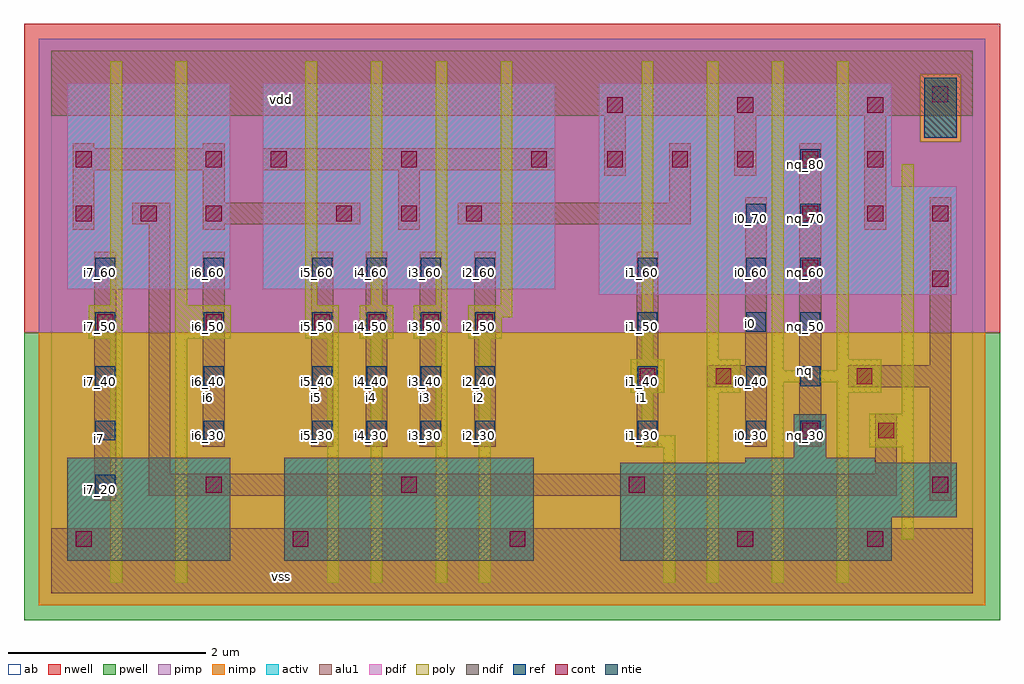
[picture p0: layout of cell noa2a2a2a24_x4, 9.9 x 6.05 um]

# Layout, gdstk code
import gdstk
lib = gdstk.Library(unit=1e-6, precision=2.5e-09)
def R(c, l, rs):  # rectangles x0, y0, x1, y1
    for r in rs: c.add(gdstk.rectangle(r[:2], r[2:], *l))
def A(c, l, x, y, w, h, nx, ny, dx, dy):  # array of equal rectangles
    R(c, l, [(x+i*dx, y+j*dy, x+i*dx+w, y+j*dy+h) for i in range(nx) for j in range(ny)])
ndif = (3, 0)
pdif = (4, 0)
ntie = (5, 0)
ref = (24, 0)
cont = (25, 0)
pwell = (41, 0)
nwell = (42, 0)
activ = (43, 0)
pimp = (44, 0)
nimp = (45, 0)
poly = (46, 0)
alu1 = (49, 0)
ab = (63, 0)

noa2a2a2a24_x4 = lib.new_cell('noa2a2a2a24_x4')
R(noa2a2a2a24_x4, ndif, [(0.165,0.33,1.815,1.375), (2.365,0.33,4.895,1.375), (5.775,0.33,8.525,0.77), (5.775,0.77,9.185,1.32), (7.04,1.32,8.36,1.375), (7.535,1.375,7.865,1.815)])
R(noa2a2a2a24_x4, pdif, [(5.555,3.025,9.185,4.125), (0.165,3.08,1.815,5.17), (2.145,3.08,5.115,5.17), (5.555,4.125,8.525,5.17)])
R(noa2a2a2a24_x4, ntie, [(8.855,4.62,9.185,5.225)])
A(noa2a2a2a24_x4, ref, 0.45, 1.55, 0.2, 0.2, 3, 4, 1.1, 0.55)
A(noa2a2a2a24_x4, ref, 3.2, 1.55, 0.2, 0.2, 3, 4, 0.55, 0.55)
A(noa2a2a2a24_x4, ref, 5.95, 1.55, 0.2, 0.2, 1, 4, 0, 0.55)
A(noa2a2a2a24_x4, ref, 7.05, 1.55, 0.2, 0.2, 1, 5, 0, 0.55)
A(noa2a2a2a24_x4, ref, 7.6, 1.55, 0.2, 0.2, 1, 6, 0, 0.55)
R(noa2a2a2a24_x4, ref, [(0.45,1,0.65,1.2)])
A(noa2a2a2a24_x4, cont, 0.25, 0.47, 0.16, 0.16, 3, 1, 2.2, 0)
A(noa2a2a2a24_x4, cont, 0.47, 2.67, 0.16, 0.16, 3, 1, 1.1, 0)
A(noa2a2a2a24_x4, cont, 3.22, 2.67, 0.16, 0.16, 3, 1, 0.55, 0)
A(noa2a2a2a24_x4, cont, 0.25, 3.77, 0.16, 0.16, 3, 1, 0.66, 0)
A(noa2a2a2a24_x4, cont, 2.89, 3.77, 0.16, 0.16, 3, 1, 0.66, 0)
A(noa2a2a2a24_x4, cont, 7.62, 3.77, 0.16, 0.16, 3, 1, 0.66, 0)
A(noa2a2a2a24_x4, cont, 2.23, 4.32, 0.16, 0.16, 3, 1, 1.32, 0)
A(noa2a2a2a24_x4, cont, 5.64, 4.32, 0.16, 0.16, 5, 1, 0.66, 0)
A(noa2a2a2a24_x4, cont, 5.64, 4.87, 0.16, 0.16, 3, 1, 1.32, 0)
R(noa2a2a2a24_x4, cont, [(6.96,0.47,7.12,0.63), (8.28,0.47,8.44,0.63), (1.57,1.02,1.73,1.18), (3.55,1.02,3.71,1.18), (5.86,1.02,6.02,1.18), (8.94,1.02,9.1,1.18), (7.62,1.57,7.78,1.73), (8.39,1.57,8.55,1.73), (5.97,2.12,6.13,2.28), (6.74,2.12,6.9,2.28), (8.17,2.12,8.33,2.28), (8.94,3.11,9.1,3.27), (7.62,3.22,7.78,3.38), (0.25,4.32,0.41,4.48), (1.57,4.32,1.73,4.48), (8.94,4.98,9.1,5.14)])
R(noa2a2a2a24_x4, pwell, [(-0.275,-0.275,9.625,2.64)])
R(noa2a2a2a24_x4, nwell, [(-0.275,2.64,9.625,5.775)])
R(noa2a2a2a24_x4, activ, [(0.165,0.33,1.815,1.375), (2.365,0.33,4.895,1.375), (5.775,0.33,8.525,0.77), (5.775,0.77,9.185,1.32), (7.04,1.32,8.36,1.375), (7.535,1.375,7.865,1.815), (5.555,3.025,9.185,4.125), (0.165,3.08,1.815,5.17), (2.145,3.08,5.115,5.17), (5.555,4.125,8.525,5.17), (8.855,4.62,9.185,5.225)])
R(noa2a2a2a24_x4, pimp, [(-0.125,2.64,9.475,4.58), (-0.125,4.58,8.815,5.265), (9.225,4.58,9.475,5.265), (-0.125,5.265,9.475,5.625)])
R(noa2a2a2a24_x4, nimp, [(-0.125,-0.125,9.475,2.64), (8.815,4.58,9.225,5.265)])
A(noa2a2a2a24_x4, poly, 2.58, 2.58, 0.34, 0.34, 3, 1, 0.55, 0)
A(noa2a2a2a24_x4, poly, 2.58, 2.92, 0.12, 2.475, 4, 1, 0.66, 0)
R(noa2a2a2a24_x4, poly, [(0.6,0.105,0.72,2.58), (1.26,0.105,1.38,2.58), (2.8,0.105,2.92,2.58), (3.24,0.105,3.36,2.58), (3.9,0.105,4.02,2.58), (4.34,0.105,4.46,2.58), (6.21,0.105,6.33,1.48), (6.65,0.105,6.77,2.03), (7.31,0.105,7.43,2.14), (7.97,0.105,8.09,2.03), (8.63,0.545,8.75,1.48), (5.99,1.48,6.33,1.6), (8.3,1.48,8.75,1.82), (5.99,1.6,6.11,2.03), (8.63,1.82,8.75,4.35), (5.88,2.03,6.22,2.37), (6.65,2.03,6.99,2.37), (7.97,2.03,8.42,2.14), (7.31,2.14,8.42,2.26), (7.31,2.26,7.43,5.395), (7.97,2.26,8.42,2.37), (5.99,2.37,6.11,5.395), (6.65,2.37,6.77,5.395), (7.97,2.37,8.09,5.395), (0.38,2.58,0.72,2.92), (1.26,2.58,1.82,2.92), (4.23,2.58,4.57,2.8), (4.23,2.8,4.68,2.92), (0.6,2.92,0.72,5.395), (1.26,2.92,1.38,5.395)])
A(noa2a2a2a24_x4, alu1, 2.64, 1.485, 0.22, 1.98, 4, 1, 0.55, 0)
R(noa2a2a2a24_x4, alu1, [(0,0,9.35,0.66), (0.44,0.935,0.66,3.465), (8.91,0.935,9.13,2.09), (0.99,0.99,8.58,1.21), (0.99,1.21,1.21,3.74), (8.36,1.21,8.58,1.815), (1.54,1.485,1.76,3.465), (5.94,1.485,6.16,3.465), (7.04,1.485,7.26,2.09), (7.59,1.485,7.81,4.565), (6.655,2.09,7.26,2.31), (8.085,2.09,9.13,2.31), (7.04,2.31,7.26,4.015), (8.91,2.31,9.13,4.015), (0.22,3.685,0.44,4.29), (1.54,3.685,1.76,3.74), (3.52,3.685,3.74,4.29), (8.25,3.685,8.47,4.84), (0.825,3.74,1.21,3.96), (1.54,3.74,3.135,3.96), (4.125,3.74,6.49,3.96), (1.54,3.96,1.76,4.29), (6.27,3.96,6.49,4.565), (5.61,4.235,5.83,4.84), (6.93,4.235,7.15,4.84), (0.22,4.29,1.76,4.51), (2.145,4.29,5.115,4.51), (0.22,4.51,0.44,4.565), (1.54,4.51,1.76,4.565), (0,4.84,9.35,5.5)])
R(noa2a2a2a24_x4, ab, [(0,0,9.35,5.5)])
noa2a2a2a24_x4.add(gdstk.Label('vss', (2.3375,0.165), layer=49, texttype=0))
noa2a2a2a24_x4.add(gdstk.Label('nq', (7.645,2.255), layer=49, texttype=0))
noa2a2a2a24_x4.add(gdstk.Label('i0', (7.095,2.735), layer=49, texttype=0))
noa2a2a2a24_x4.add(gdstk.Label('i1', (5.995,1.98), layer=49, texttype=0))
noa2a2a2a24_x4.add(gdstk.Label('i2', (4.345,1.98), layer=49, texttype=0))
noa2a2a2a24_x4.add(gdstk.Label('i3', (3.795,1.98), layer=49, texttype=0))
noa2a2a2a24_x4.add(gdstk.Label('i4', (3.245,1.98), layer=49, texttype=0))
noa2a2a2a24_x4.add(gdstk.Label('i5', (2.695,1.98), layer=49, texttype=0))
noa2a2a2a24_x4.add(gdstk.Label('i6', (1.595,1.98), layer=49, texttype=0))
noa2a2a2a24_x4.add(gdstk.Label('i7', (0.495,1.5675), layer=49, texttype=0))
noa2a2a2a24_x4.add(gdstk.Label('vdd', (2.3375,5.005), layer=49, texttype=0))
noa2a2a2a24_x4.add(gdstk.Label('i2_60', (4.35,3.25), layer=24, texttype=0))
noa2a2a2a24_x4.add(gdstk.Label('i2_50', (4.35,2.7), layer=24, texttype=0))
noa2a2a2a24_x4.add(gdstk.Label('i2_40', (4.35,2.15), layer=24, texttype=0))
noa2a2a2a24_x4.add(gdstk.Label('i2_30', (4.35,1.6), layer=24, texttype=0))
noa2a2a2a24_x4.add(gdstk.Label('i3_60', (3.8,3.25), layer=24, texttype=0))
noa2a2a2a24_x4.add(gdstk.Label('i3_50', (3.8,2.7), layer=24, texttype=0))
noa2a2a2a24_x4.add(gdstk.Label('i3_40', (3.8,2.15), layer=24, texttype=0))
noa2a2a2a24_x4.add(gdstk.Label('i3_30', (3.8,1.6), layer=24, texttype=0))
noa2a2a2a24_x4.add(gdstk.Label('i4_60', (3.25,3.25), layer=24, texttype=0))
noa2a2a2a24_x4.add(gdstk.Label('i4_50', (3.25,2.7), layer=24, texttype=0))
noa2a2a2a24_x4.add(gdstk.Label('i4_40', (3.25,2.15), layer=24, texttype=0))
noa2a2a2a24_x4.add(gdstk.Label('i4_30', (3.25,1.6), layer=24, texttype=0))
noa2a2a2a24_x4.add(gdstk.Label('i5_60', (2.7,3.25), layer=24, texttype=0))
noa2a2a2a24_x4.add(gdstk.Label('i5_50', (2.7,2.7), layer=24, texttype=0))
noa2a2a2a24_x4.add(gdstk.Label('i5_40', (2.7,2.15), layer=24, texttype=0))
noa2a2a2a24_x4.add(gdstk.Label('i5_30', (2.7,1.6), layer=24, texttype=0))
noa2a2a2a24_x4.add(gdstk.Label('i6_60', (1.6,3.25), layer=24, texttype=0))
noa2a2a2a24_x4.add(gdstk.Label('i6_50', (1.6,2.7), layer=24, texttype=0))
noa2a2a2a24_x4.add(gdstk.Label('i6_40', (1.6,2.15), layer=24, texttype=0))
noa2a2a2a24_x4.add(gdstk.Label('i6_30', (1.6,1.6), layer=24, texttype=0))
noa2a2a2a24_x4.add(gdstk.Label('i7_60', (0.5,3.25), layer=24, texttype=0))
noa2a2a2a24_x4.add(gdstk.Label('i7_50', (0.5,2.7), layer=24, texttype=0))
noa2a2a2a24_x4.add(gdstk.Label('i7_40', (0.5,2.15), layer=24, texttype=0))
noa2a2a2a24_x4.add(gdstk.Label('i7_30', (0.5,1.6), layer=24, texttype=0))
noa2a2a2a24_x4.add(gdstk.Label('i7_20', (0.5,1.05), layer=24, texttype=0))
noa2a2a2a24_x4.add(gdstk.Label('nq_50', (7.65,2.7), layer=24, texttype=0))
noa2a2a2a24_x4.add(gdstk.Label('nq_60', (7.65,3.25), layer=24, texttype=0))
noa2a2a2a24_x4.add(gdstk.Label('nq_70', (7.65,3.8), layer=24, texttype=0))
noa2a2a2a24_x4.add(gdstk.Label('nq_30', (7.65,1.6), layer=24, texttype=0))
noa2a2a2a24_x4.add(gdstk.Label('nq_40', (7.65,2.15), layer=24, texttype=0))
noa2a2a2a24_x4.add(gdstk.Label('nq_80', (7.65,4.35), layer=24, texttype=0))
noa2a2a2a24_x4.add(gdstk.Label('i0_60', (7.1,3.25), layer=24, texttype=0))
noa2a2a2a24_x4.add(gdstk.Label('i0_50', (7.1,2.7), layer=24, texttype=0))
noa2a2a2a24_x4.add(gdstk.Label('i0_40', (7.1,2.15), layer=24, texttype=0))
noa2a2a2a24_x4.add(gdstk.Label('i0_30', (7.1,1.6), layer=24, texttype=0))
noa2a2a2a24_x4.add(gdstk.Label('i1_30', (6,1.6), layer=24, texttype=0))
noa2a2a2a24_x4.add(gdstk.Label('i1_60', (6,3.25), layer=24, texttype=0))
noa2a2a2a24_x4.add(gdstk.Label('i1_50', (6,2.7), layer=24, texttype=0))
noa2a2a2a24_x4.add(gdstk.Label('i1_40', (6,2.15), layer=24, texttype=0))
noa2a2a2a24_x4.add(gdstk.Label('i0_70', (7.1,3.8), layer=24, texttype=0))

lib.write_gds('noa2a2a2a24_x4.gds')
